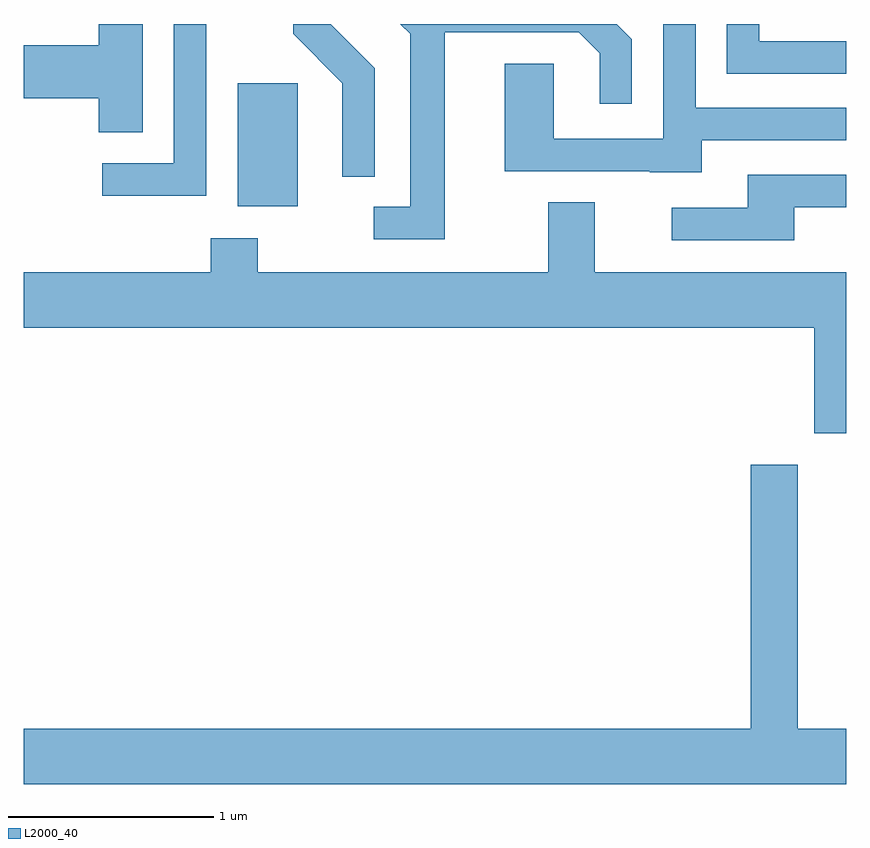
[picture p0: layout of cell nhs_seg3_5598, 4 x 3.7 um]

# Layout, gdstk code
import gdstk
lib = gdstk.Library(unit=1e-6, precision=1e-09)
def R(c, l, rs):  # rectangles x0, y0, x1, y1
    for r in rs: c.add(gdstk.rectangle(r[:2], r[2:], *l))
def P(c, l, *ps):  # polygons
    for p in ps: c.add(gdstk.Polygon(p, *l))
L2000_40 = (2000, 40)

nhs_seg3_5598 = lib.new_cell('nhs_seg3_5598')
R(nhs_seg3_5598, L2000_40, [(350.651,1171.006,350.944,1171.604)])
P(nhs_seg3_5598, L2000_40, [(350.499,1171.892),(350.341,1171.892),(350.341,1171.214),(349.993,1171.214),(349.993,1171.056),(350.499,1171.056)],
  [(351.319,1171.677),(351.104,1171.892),(350.921,1171.892),(350.921,1171.844),(351.161,1171.604),(351.161,1171.148),(351.319,1171.148)],
  [(353.611,1171.809),(353.189,1171.809),(353.189,1171.892),(353.031,1171.892),(353.031,1171.651),(353.611,1171.651)],
  [(350.189,1171.892),(349.976,1171.892),(349.976,1171.789),(349.611,1171.789),(349.611,1171.531),(349.976,1171.531),(349.976,1171.366),(350.189,1171.366)],
  [(351.659,1171.851),(352.309,1171.851),(352.411,1171.749),(352.411,1171.503),(352.569,1171.503),(352.569,1171.817),(352.494,1171.892),(351.443,1171.892),(351.491,1171.844),(351.491,1171.004),(351.313,1171.004),(351.313,1170.846),(351.659,1170.846)],
  [(352.909,1171.326),(353.611,1171.326),(353.611,1171.484),(352.879,1171.484),(352.879,1171.892),(352.721,1171.892),(352.721,1171.334),(352.189,1171.334),(352.189,1171.699),(351.951,1171.699),(351.951,1171.176),(352.655,1171.176),(352.655,1171.171),(352.909,1171.171)],
  [(353.359,1171.001),(353.611,1171.001),(353.611,1171.159),(353.131,1171.159),(353.131,1170.999),(352.763,1170.999),(352.763,1170.841),(353.359,1170.841)],
  [(350.521,1170.849),(350.521,1170.684),(349.611,1170.684),(349.611,1170.416),(353.456,1170.416),(353.456,1169.901),(353.611,1169.901),(353.611,1170.684),(352.389,1170.684),(352.389,1171.024),(352.161,1171.024),(352.161,1170.684),(350.749,1170.684),(350.749,1170.849)],
  [(353.611,1168.464),(353.374,1168.464),(353.374,1169.749),(353.146,1169.749),(353.146,1168.464),(349.611,1168.464),(349.611,1168.196),(353.611,1168.196)])

lib.write_gds('nhs_seg3_5598.gds')
